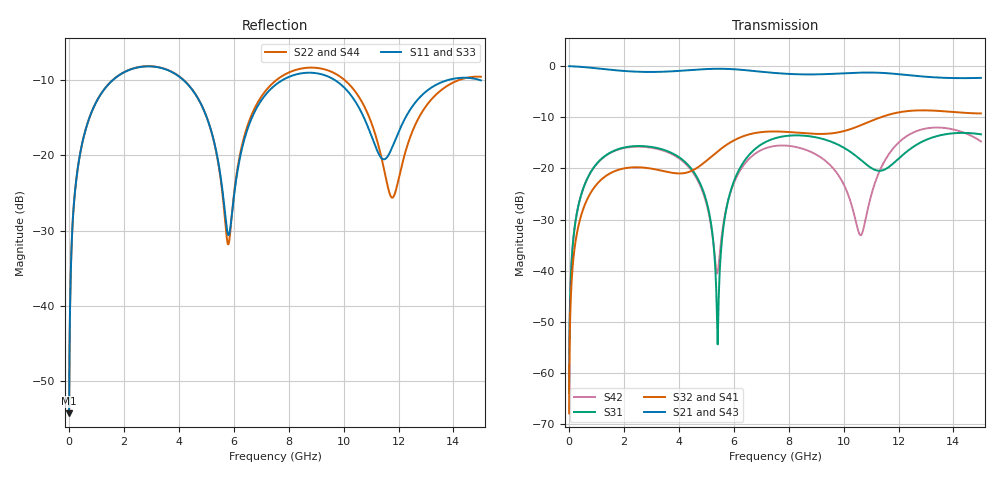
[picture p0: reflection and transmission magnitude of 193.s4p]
! Created with skrf 1.8.0 (http://scikit-rf.org).
# GHz S RI R 50.0
!freq ReS11 ImS11 ReS12 ImS12 ReS13 ImS13
! ReS14 ImS14
! ReS21 ImS21 ReS22 ImS22 ReS23 ImS23
! ReS24 ImS24
! ReS31 ImS31 ReS32 ImS32 ReS33 ImS33
! ReS34 ImS34
! ReS41 ImS41 ReS42 ImS42 ReS43 ImS43
! ReS44 ImS44
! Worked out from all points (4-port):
!   2499 points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, 5 MHz to 15 GHz, reference 50 ohm
!   strongest paths, dB at 5 MHz, 3.476 GHz, 7.19 GHz, 11.1 GHz, 15 GHz:
!     S21: 0.0, -1.1, -1.2, -1.3, -2.3
!     S43: 0.0, -1.1, -1.2, -1.3, -2.3
!     S32: -67.9, -20.6, -12.8, -10.5, -9.3
!     S41: -67.9, -20.6, -12.9, -10.5, -9.4
!     S31: -63.8, -16.4, -14.8, -20.2, -13.3
!     S42: -63.8, -16.6, -16.0, -23.6, -14.7
!   lowest |S11| = -54.3 dB at 5 MHz (marker M1), VSWR 1.00, Z = 50.2 + j0.117 ohm
!   |S11| at or under -10 dB: start of sweep to 1.6 GHz; 4.165 GHz to 7.782 GHz (3.616 GHz wide, 60.5 % of centre); 9.677 GHz to 13.81 GHz (4.129 GHz wide, 35.2 % of centre) (the widest 3 of 4)
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0.005  0.00154 0.00117  0.9984 -0.00301  7.83e-05 0.000641  -7.59e-05 -0.000397
       0.9984 -0.00301  0.00154 0.00117  -7.59e-05 -0.000397  7.82e-05 0.000641
       7.83e-05 0.000641  -7.59e-05 -0.000397  0.00154 0.00117  0.9984 -0.00301
       -7.59e-05 -0.000397  7.82e-05 0.000641  0.9984 -0.00301  0.00154 0.00117
0.3126303  0.0217 0.0774  0.9703 -0.1875  0.0104 0.0383  -0.00852 -0.0235
           0.9703 -0.1875  0.0218 0.0774  -0.00853 -0.0235  0.0101 0.0383
           0.0104 0.0383  -0.00853 -0.0235  0.0217 0.0774  0.9703 -0.1876
           -0.00852 -0.0235  0.0101 0.0383  0.9703 -0.1876  0.0218 0.0774
1.519383  0.2442 0.1851  0.6008 -0.697  0.1257 0.0693  -0.0888 -0.0148
          0.6008 -0.697  0.2454 0.1845  -0.089 -0.0146  0.1219 0.0738
          0.1257 0.0693  -0.089 -0.0146  0.2441 0.1852  0.6008 -0.697
          -0.0888 -0.0148  0.1219 0.0738  0.6008 -0.697  0.2455 0.1844
5.414756  0.0464 -0.0831  -0.9002 -0.2766  -0.00187 0.000375  -0.0403 0.1411
          -0.9002 -0.2766  0.0418 -0.0835  -0.0374 0.1419  -0.00965 0.000724
          -0.00187 0.000375  -0.0374 0.1419  0.0467 -0.0825  -0.9003 -0.2764
          -0.0403 0.1411  -0.00965 0.000724  -0.9003 -0.2764  0.0412 -0.0832
6.296373  0.0614 0.0914  -0.8991 0.1909  0.0672 0.0853  0.0566 0.1957
          -0.8991 0.1909  0.0615 0.098  0.0603 0.1949  0.0358 0.0952
          0.0672 0.0853  0.0603 0.1949  0.0617 0.092  -0.8989 0.1914
          0.0566 0.1957  0.0358 0.0952  -0.8989 0.1914  0.0617 0.0994
9.091288  0.3472 -0.0313  0.0325 0.8304  0.1278 -0.1521  0.2054 -0.0639
          0.0325 0.8304  0.3739 -0.0624  0.2053 -0.0713  0.1289 -0.0296
          0.1278 -0.1521  0.2053 -0.0713  0.3493 -0.0293  0.0325 0.8292
          0.2054 -0.0639  0.1289 -0.0296  0.0325 0.8292  0.3781 -0.0639
15  0.3068 -0.069  0.0337 -0.7665  0.1443 -0.1598  -0.3357 0.0479
    0.0337 -0.7665  0.3299 -0.0388  -0.3379 0.0682  0.1628 -0.0854
    0.1443 -0.1598  -0.3379 0.0682  0.3059 -0.056  0.0331 -0.7657
    -0.3357 0.0479  0.1628 -0.0854  0.0331 -0.7657  0.3362 -0.0513
